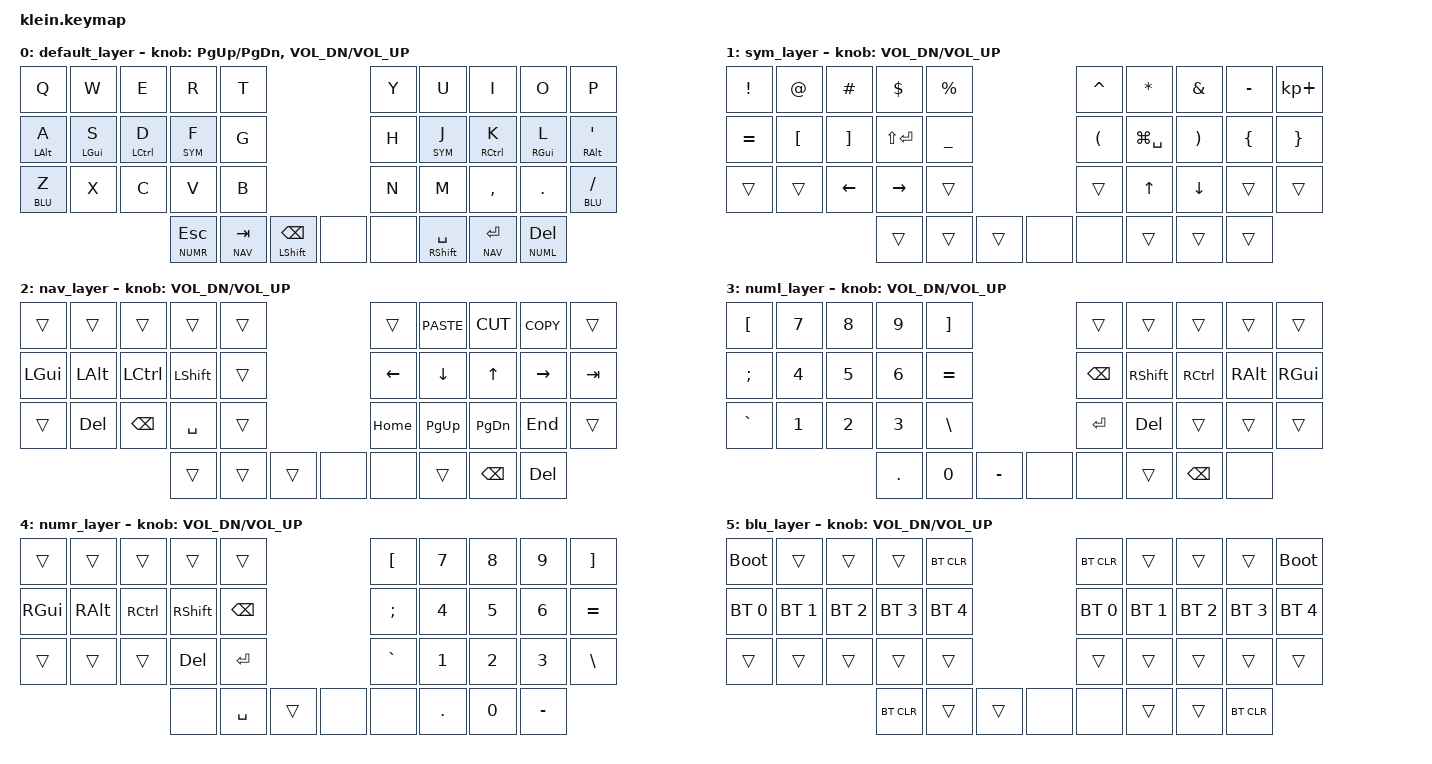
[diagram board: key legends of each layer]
/*
 * Copyright (c) 2020 The ZMK Contributors
 *
 * SPDX-License-Identifier: MIT
 */


#include <behaviors.dtsi>
#include <dt-bindings/zmk/keys.h>
#include <dt-bindings/zmk/bt.h>
#include <dt-bindings/zmk/outputs.h>

#define _ &none
#define ___ &trans

#define BASE 0
#define SYM  1
#define NAV  2
#define NUML 3
#define NUMR 4
#define BLU  5

&mt {
   tapping-term-ms = <210>;
   quick-tap-ms = <200>;
   global-quick-tap;
};

/ {
    keymap {
        compatible = "zmk,keymap";

        default_layer {
            bindings = <
&kp Q          &kp W          &kp E          &kp R          &kp T                                                              &kp Y          &kp U          &kp I          &kp O          &kp P
&mt LALT A     &mt LGUI S     &mt LCTRL D    &lt SYM F      &kp G                                                              &kp H          &lt SYM J      &mt RCTRL K    &mt RGUI L     &mt RALT SQT
&lt BLU Z      &kp X          &kp C          &kp V          &kp B                                                              &kp N          &kp M          &kp COMMA      &kp DOT        &lt BLU FSLH
                                             &lt NUMR ESC   &lt NAV TAB    &mt LSHIFT BSPC    _ _    &mt RSHIFT SPACE          &mt NAV RET    &lt NUML DEL
            >;
sensor-bindings = <&inc_dec_kp PG_UP PG_DN &inc_dec_kp C_VOL_DN C_VOL_UP>;
        };


        sym_layer {
            bindings = <
&kp EXCL       &kp AT         &kp HASH       &kp DLLR       &kp PERCENT                                          &kp CARET      &kp STAR       &kp AMPS       &kp MINUS      &kp KP_PLUS
&kp EQUAL      &kp LBKT       &kp RBKT       &kp LS(ENTER)  &kp UNDER                                            &kp LPAR       &kp LG(SPACE)  &kp RPAR       &kp LBRC       &kp RBRC
___            ___            &kp LEFT       &kp RIGHT      ___                                                  ___            &kp UP         &kp DOWN       ___            ___
                                             ___            ___            ___             _ _    ___            ___            ___
            >;
sensor-bindings = <&inc_dec_kp C_VOL_DN C_VOL_UP>;
        };


        nav_layer {
            bindings = <
___            ___            ___            ___            ___                                                  ___            &kp K_PASTE    &kp K_CUT      &kp K_COPY     ___
&kp LGUI       &kp LALT       &kp LCTRL      &kp LSHFT      ___                                                  &kp LEFT       &kp DOWN       &kp UP         &kp RIGHT      &kp TAB
___            &kp DEL        &kp BSPC       &kp SPACE      ___                                                  &kp HOME       &kp PG_UP      &kp PG_DN      &kp END        ___
                                             ___            ___            ___             _ _    ___            &kp BSPC       &kp DEL
            >;
sensor-bindings = <&inc_dec_kp C_VOL_DN C_VOL_UP>;
        };


        numl_layer {
            bindings = <
&kp LBKT       &kp N7         &kp N8         &kp N9         &kp RBKT                                             ___            ___            ___            ___            ___
&kp SEMI       &kp N4         &kp N5         &kp N6         &kp EQUAL                                            &kp BSPC       &kp RSHFT      &kp RCTRL      &kp RALT       &kp RGUI
&kp GRAVE      &kp N1         &kp N2         &kp N3         &kp BSLH                                             &kp RET        &kp DEL        ___            ___            ___        
                                             &kp PERIOD     &kp N0         &kp MINUS       _ _    ___            &kp BSPC       _
            >;
sensor-bindings = <&inc_dec_kp C_VOL_DN C_VOL_UP>;
        };


numr_layer {
            bindings = <
___            ___            ___            ___            ___                                                  &kp LBKT       &kp N7         &kp N8         &kp N9         &kp RBKT                                             
&kp RGUI       &kp RALT       &kp RCTRL      &kp RSHFT      &kp BSPC                                             &kp SEMI       &kp N4         &kp N5         &kp N6         &kp EQUAL
___            ___            ___            &kp DEL        &kp RET                                              &kp GRAVE      &kp N1         &kp N2         &kp N3         &kp BSLH
                                             _              &kp SPACE         ___       _ _       &kp PERIOD     &kp N0         &kp MINUS
            >;
sensor-bindings = <&inc_dec_kp C_VOL_DN C_VOL_UP>;
        };

        blu_layer {          
            bindings = <
&bootloader    ___            ___            ___            &bt BT_CLR                                           &bt BT_CLR     ___            ___            ___            &bootloader
&bt BT_SEL 0   &bt BT_SEL 1   &bt BT_SEL 2   &bt BT_SEL 3   &bt BT_SEL 4                                         &bt BT_SEL 0   &bt BT_SEL 1   &bt BT_SEL 2   &bt BT_SEL 3   &bt BT_SEL 4
___            ___            ___            ___            ___                                                  ___            ___            ___            ___            ___
                                             &bt BT_CLR     ___           ___             _ _    ___            ___            &bt BT_CLR
            >;
sensor-bindings = <&inc_dec_kp C_VOL_DN C_VOL_UP>;
        };
    };
};
 
